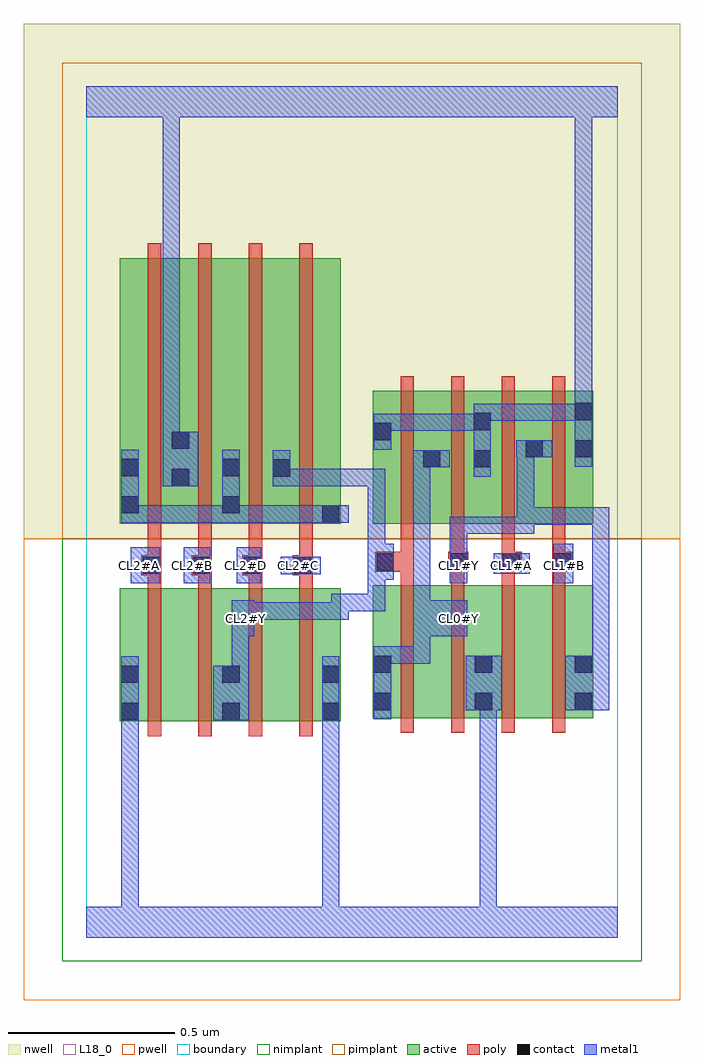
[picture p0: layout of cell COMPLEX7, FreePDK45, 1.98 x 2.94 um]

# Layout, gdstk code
import gdstk
lib = gdstk.Library(unit=1e-6, precision=1e-09)
def R(c, l, rs):  # rectangles x0, y0, x1, y1
    for r in rs: c.add(gdstk.rectangle(r[:2], r[2:], *l))
def A(c, l, x, y, w, h, nx, ny, dx, dy):  # array of equal rectangles
    R(c, l, [(x+i*dx, y+j*dy, x+i*dx+w, y+j*dy+h) for i in range(nx) for j in range(ny)])
active = (1, 0)
pwell = (2, 0)
nwell = (3, 0)
nimplant = (4, 0)
pimplant = (5, 0)
poly = (9, 0)
contact = (10, 0)
metal1 = (11, 0)
L18_0 = (18, 0)
boundary = (235, 0)

complex7 = lib.new_cell('COMPLEX7')
A(complex7, active, 0.102, 1.244, 0.06, 0.8, 4, 1, 0.152, 0)
A(complex7, active, 0.102, 1.244, 0.212, 0.8, 3, 1, 0.152, 0)
R(complex7, active, [(0.102,0.65,0.282,1.05), (0.102,0.65,0.162,1.05), (0.282,0.65,0.466,1.05), (0.406,0.65,0.586,1.05), (0.406,0.65,0.466,0.822), (0.586,0.65,0.766,1.05), (0.706,0.65,0.766,1.05), (0.862,0.66,1.042,1.06), (1.042,0.66,1.226,1.06), (1.166,0.66,1.346,1.06), (1.346,0.66,1.526,1.06), (0.862,0.68,0.922,1.06), (1.166,0.68,1.226,0.852), (1.466,0.68,1.526,1.06), (0.558,1.244,0.766,2.044), (0.706,1.244,0.766,2.044), (0.862,1.244,1.07,1.644), (1.01,1.244,1.07,1.644), (1.01,1.244,1.222,1.644), (1.162,1.244,1.222,1.644), (1.162,1.244,1.378,1.644), (1.318,1.244,1.378,1.644), (1.318,1.244,1.526,1.644), (1.466,1.244,1.526,1.644), (0.862,1.452,0.922,1.644)])
R(complex7, pwell, [(-0.188,-0.188,1.788,1.2)])
R(complex7, nwell, [(-0.188,1.2,1.788,2.748)])
R(complex7, nimplant, [(-0.072,-0.072,1.672,1.2)])
R(complex7, pimplant, [(-0.072,1.2,1.672,2.632)])
A(complex7, poly, 0.186, 0.606, 0.04, 0.488, 4, 1, 0.152, 0)
A(complex7, poly, 0.946, 0.616, 0.04, 0.488, 4, 2, 0.152, 0.584)
A(complex7, poly, 0.186, 1.054, 0.04, 0.076, 4, 1, 0.152, 0)
A(complex7, poly, 0.946, 1.064, 0.04, 0.076, 4, 1, 0.152, 0)
A(complex7, poly, 0.166, 1.09, 0.06, 0.06, 4, 1, 0.152, 0)
A(complex7, poly, 0.186, 1.11, 0.04, 0.13, 4, 1, 0.152, 0)
A(complex7, poly, 0.946, 1.12, 0.04, 0.12, 4, 1, 0.152, 0)
A(complex7, poly, 0.186, 1.2, 0.04, 0.888, 4, 1, 0.152, 0)
R(complex7, poly, [(0.49,1.09,0.53,1.13), (0.49,1.09,0.53,1.13), (0.642,1.09,0.682,1.13), (0.642,1.09,0.682,1.13), (0.87,1.1,0.986,1.16), (1.09,1.1,1.15,1.16), (1.098,1.1,1.138,1.14), (1.098,1.1,1.138,1.14), (1.25,1.1,1.31,1.16), (1.402,1.1,1.462,1.16), (0.186,1.11,0.226,1.15), (0.186,1.11,0.226,1.15), (0.338,1.11,0.378,1.15), (0.338,1.11,0.378,1.15), (0.946,1.12,0.986,1.16), (0.946,1.12,0.986,1.16), (1.25,1.12,1.29,1.16), (1.25,1.12,1.29,1.16), (1.402,1.12,1.442,1.16), (1.402,1.12,1.442,1.16)])
A(complex7, contact, 0.17, 1.094, 0.052, 0.052, 4, 1, 0.152, 0)
R(complex7, contact, [(0.106,0.654,0.158,0.706), (0.41,0.654,0.462,0.706), (0.71,0.654,0.762,0.706), (0.866,0.684,0.918,0.736), (1.17,0.684,1.222,0.736), (1.47,0.684,1.522,0.736), (0.106,0.766,0.158,0.818), (0.41,0.766,0.462,0.818), (0.71,0.766,0.762,0.818), (0.866,0.796,0.918,0.848), (1.17,0.796,1.222,0.848), (1.47,0.796,1.522,0.848), (0.874,1.104,0.926,1.156), (1.094,1.104,1.146,1.156), (1.254,1.104,1.306,1.156), (1.406,1.104,1.458,1.156), (0.71,1.248,0.762,1.3), (0.106,1.276,0.158,1.328), (0.41,1.276,0.462,1.328), (0.258,1.358,0.31,1.41), (0.562,1.386,0.614,1.438), (0.106,1.388,0.158,1.44), (0.41,1.388,0.462,1.44), (1.014,1.414,1.066,1.466), (1.166,1.414,1.218,1.466), (1.322,1.444,1.374,1.496), (1.47,1.444,1.522,1.496), (0.258,1.47,0.31,1.522), (0.866,1.496,0.918,1.548), (1.166,1.526,1.218,1.578), (1.47,1.556,1.522,1.608)])
R(complex7, metal1, [(0,0,1.6,0.092), (0.106,0.04,0.158,0.092), (0.106,0.04,0.158,0.092), (0.106,0.04,0.158,0.092), (0.106,0.04,0.158,0.092), (0.106,0.04,0.158,0.092), (0.106,0.04,0.158,0.092), (0.106,0.04,0.158,0.092), (0.106,0.04,0.158,0.092), (0.106,0.04,0.158,0.092), (0.106,0.04,0.158,0.092), (0.106,0.04,0.158,0.092), (0.106,0.04,0.158,0.092), (0.106,0.04,0.158,0.678), (0.71,0.04,0.762,0.092), (0.71,0.04,0.762,0.092), (0.71,0.04,0.762,0.092), (0.71,0.04,0.762,0.092), (0.71,0.04,0.762,0.092), (0.71,0.04,0.762,0.092), (0.71,0.04,0.762,0.092), (0.71,0.04,0.762,0.092), (0.71,0.04,0.762,0.092), (0.71,0.04,0.762,0.092), (0.71,0.04,0.762,0.092), (0.71,0.04,0.762,0.092), (0.71,0.04,0.762,0.678), (1.184,0.04,1.236,0.092), (1.184,0.04,1.236,0.092), (1.184,0.04,1.236,0.092), (1.184,0.04,1.236,0.092), (1.184,0.04,1.236,0.092), (1.184,0.04,1.236,0.092), (1.184,0.04,1.236,0.736), (0.106,0.626,0.158,0.846), (0.71,0.626,0.762,0.846), (0.382,0.654,0.49,0.818), (0.866,0.656,0.918,0.876), (1.142,0.684,1.25,0.848), (1.184,0.684,1.236,0.736), (1.184,0.684,1.236,0.736), (1.184,0.684,1.236,0.736), (1.184,0.684,1.236,0.736), (1.184,0.684,1.236,0.736), (1.184,0.684,1.236,0.736), (1.442,0.684,1.574,0.848), (0.438,0.766,0.49,0.958), (1.522,0.796,1.574,0.848), (1.522,0.796,1.574,0.848), (1.522,0.796,1.574,1.294), (0.866,0.824,0.918,0.876), (0.866,0.824,0.918,0.876), (0.866,0.824,1.036,0.876), (0.984,0.824,1.036,0.876), (0.984,0.824,1.036,0.958), (0.438,0.906,0.506,1.014), (0.984,0.906,1.146,1.014), (0.454,0.956,0.506,1.008), (0.454,0.956,0.506,1.008), (0.454,0.956,0.624,1.008), (0.572,0.956,0.624,1.008), (0.572,0.956,0.79,1.008), (0.738,0.956,0.79,1.034), (0.984,0.962,1.036,1.014), (0.984,0.962,1.036,1.014), (0.984,0.962,1.036,1.466), (0.738,0.982,0.79,1.034), (0.738,0.982,0.79,1.034), (0.738,0.982,0.9,1.034), (0.848,0.982,0.9,1.128), (0.134,1.066,0.222,1.174), (0.294,1.066,0.374,1.174), (0.454,1.066,0.526,1.174), (1.094,1.066,1.146,1.184), (1.406,1.066,1.466,1.184), (0.848,1.076,0.9,1.128), (0.848,1.076,0.9,1.128), (0.848,1.076,0.926,1.128), (0.848,1.076,0.9,1.41), (0.874,1.076,0.926,1.184), (0.586,1.092,0.706,1.146), (1.226,1.094,1.334,1.156), (1.094,1.132,1.146,1.184), (1.094,1.132,1.146,1.266), (1.094,1.214,1.348,1.266), (1.296,1.214,1.348,1.294), (1.296,1.242,1.348,1.294), (1.296,1.242,1.348,1.294), (1.296,1.242,1.574,1.294), (1.296,1.242,1.348,1.496), (1.522,1.242,1.574,1.294), (1.522,1.242,1.574,1.294), (1.522,1.242,1.574,1.294), (0.106,1.248,0.158,1.3), (0.106,1.248,0.158,1.3), (0.106,1.248,0.158,1.468), (0.106,1.248,0.324,1.3), (0.272,1.248,0.324,1.3), (0.272,1.248,0.324,1.3), (0.272,1.248,0.324,1.3), (0.272,1.248,0.462,1.3), (0.41,1.248,0.462,1.468), (0.41,1.248,0.484,1.3), (0.432,1.248,0.484,1.3), (0.432,1.248,0.624,1.3), (0.572,1.248,0.624,1.3), (0.572,1.248,0.624,1.3), (0.572,1.248,0.624,1.3), (0.572,1.248,0.734,1.3), (0.682,1.248,0.79,1.3), (0.23,1.358,0.338,1.522), (0.562,1.358,0.614,1.466), (0.562,1.358,0.734,1.41), (0.682,1.358,0.734,1.41), (0.682,1.358,0.734,1.41), (0.682,1.358,0.734,1.41), (0.682,1.358,0.9,1.41), (0.848,1.358,0.9,1.41), (0.848,1.358,0.9,1.41), (0.848,1.358,0.9,1.41), (1.166,1.386,1.218,1.606), (0.984,1.414,1.094,1.466), (1.47,1.416,1.522,1.636), (1.294,1.444,1.402,1.496), (0.866,1.468,0.918,1.576), (0.23,1.47,0.282,1.522), (0.23,1.47,0.282,1.522), (0.23,1.47,0.282,2.52), (0.866,1.524,0.918,1.576), (0.866,1.524,0.918,1.576), (0.866,1.524,1.036,1.576), (0.984,1.524,1.036,1.576), (0.984,1.524,1.036,1.576), (0.984,1.524,1.036,1.576), (0.984,1.524,1.218,1.576), (1.166,1.554,1.348,1.606), (1.296,1.554,1.348,1.606), (1.296,1.554,1.348,1.606), (1.296,1.554,1.348,1.606), (1.296,1.554,1.522,1.606), (1.47,1.554,1.522,1.606), (1.47,1.554,1.522,1.606), (1.47,1.584,1.522,2.52), (0,2.468,1.6,2.56), (0.23,2.468,0.282,2.52), (0.23,2.468,0.282,2.52), (0.23,2.468,0.282,2.52), (0.23,2.468,0.282,2.52), (0.23,2.468,0.282,2.52), (0.23,2.468,0.282,2.52), (1.47,2.468,1.522,2.52), (1.47,2.468,1.522,2.52), (1.47,2.468,1.522,2.52), (1.47,2.468,1.522,2.52), (1.47,2.468,1.522,2.52), (1.47,2.468,1.522,2.52), (1.47,2.468,1.522,2.52), (1.47,2.468,1.522,2.52), (1.47,2.468,1.522,2.52), (1.47,2.468,1.522,2.52), (1.47,2.468,1.522,2.52), (1.47,2.468,1.522,2.52), (1.47,2.468,1.522,2.52), (1.47,2.468,1.522,2.52), (1.47,2.468,1.522,2.52), (1.47,2.468,1.522,2.52)])
A(complex7, L18_0, 0.134, 1.094, 0.052, 0.052, 4, 1, 0.16, 0)
A(complex7, L18_0, 1.094, 1.094, 0.052, 0.052, 3, 1, 0.16, 0)
R(complex7, L18_0, [(0,0,1.6,0.092), (0.106,0.04,0.158,0.092), (0.106,0.04,0.158,0.092), (0.106,0.04,0.158,0.092), (0.106,0.04,0.158,0.092), (0.106,0.04,0.158,0.092), (0.106,0.04,0.158,0.092), (0.106,0.04,0.158,0.092), (0.106,0.04,0.158,0.092), (0.106,0.04,0.158,0.092), (0.106,0.04,0.158,0.092), (0.106,0.04,0.158,0.092), (0.106,0.04,0.158,0.092), (0.106,0.04,0.158,0.678), (0.71,0.04,0.762,0.092), (0.71,0.04,0.762,0.092), (0.71,0.04,0.762,0.092), (0.71,0.04,0.762,0.092), (0.71,0.04,0.762,0.092), (0.71,0.04,0.762,0.092), (0.71,0.04,0.762,0.092), (0.71,0.04,0.762,0.092), (0.71,0.04,0.762,0.092), (0.71,0.04,0.762,0.092), (0.71,0.04,0.762,0.092), (0.71,0.04,0.762,0.092), (0.71,0.04,0.762,0.678), (1.184,0.04,1.236,0.092), (1.184,0.04,1.236,0.092), (1.184,0.04,1.236,0.092), (1.184,0.04,1.236,0.092), (1.184,0.04,1.236,0.092), (1.184,0.04,1.236,0.092), (1.184,0.04,1.236,0.736), (0.106,0.626,0.158,0.846), (0.71,0.626,0.762,0.846), (0.382,0.654,0.49,0.818), (0.866,0.656,0.918,0.876), (1.142,0.684,1.25,0.848), (1.184,0.684,1.236,0.736), (1.184,0.684,1.236,0.736), (1.184,0.684,1.236,0.736), (1.184,0.684,1.236,0.736), (1.184,0.684,1.236,0.736), (1.184,0.684,1.236,0.736), (1.442,0.684,1.574,0.848), (0.438,0.766,0.49,0.958), (1.522,0.796,1.574,0.848), (1.522,0.796,1.574,0.848), (1.522,0.796,1.574,1.294), (0.866,0.824,0.918,0.876), (0.866,0.824,0.918,0.876), (0.866,0.824,1.036,0.876), (0.984,0.824,1.036,0.876), (0.984,0.824,1.036,0.958), (0.438,0.906,0.506,1.014), (0.984,0.906,1.146,1.014), (0.454,0.934,0.506,0.986), (1.094,0.934,1.146,0.986), (0.454,0.956,0.506,1.008), (0.454,0.956,0.506,1.008), (0.454,0.956,0.624,1.008), (0.572,0.956,0.624,1.008), (0.572,0.956,0.79,1.008), (0.738,0.956,0.79,1.034), (0.984,0.962,1.036,1.014), (0.984,0.962,1.036,1.014), (0.984,0.962,1.036,1.466), (0.738,0.982,0.79,1.034), (0.738,0.982,0.79,1.034), (0.738,0.982,0.9,1.034), (0.848,0.982,0.9,1.128), (0.134,1.066,0.222,1.174), (0.294,1.066,0.374,1.174), (0.454,1.066,0.526,1.174), (1.094,1.066,1.146,1.184), (1.406,1.066,1.466,1.184), (0.848,1.076,0.9,1.128), (0.848,1.076,0.9,1.128), (0.848,1.076,0.9,1.41), (0.848,1.076,0.926,1.128), (0.874,1.076,0.926,1.184), (0.586,1.092,0.706,1.146), (1.226,1.094,1.334,1.156), (1.094,1.132,1.146,1.184), (1.094,1.132,1.146,1.266), (1.094,1.214,1.348,1.266), (1.296,1.214,1.348,1.294), (1.296,1.242,1.348,1.294), (1.296,1.242,1.348,1.294), (1.296,1.242,1.348,1.496), (1.296,1.242,1.574,1.294), (1.522,1.242,1.574,1.294), (1.522,1.242,1.574,1.294), (1.522,1.242,1.574,1.294), (0.23,1.358,0.338,1.522), (0.562,1.358,0.614,1.466), (0.562,1.358,0.734,1.41), (0.682,1.358,0.734,1.41), (0.682,1.358,0.734,1.41), (0.682,1.358,0.734,1.41), (0.682,1.358,0.9,1.41), (0.848,1.358,0.9,1.41), (0.848,1.358,0.9,1.41), (0.848,1.358,0.9,1.41), (1.166,1.386,1.218,1.606), (0.984,1.414,1.094,1.466), (1.47,1.416,1.522,1.636), (1.294,1.444,1.402,1.496), (0.866,1.468,0.918,1.576), (0.23,1.47,0.282,1.522), (0.23,1.47,0.282,1.522), (0.23,1.47,0.282,2.52), (0.866,1.524,0.918,1.576), (0.866,1.524,0.918,1.576), (0.866,1.524,1.036,1.576), (0.984,1.524,1.036,1.576), (0.984,1.524,1.036,1.576), (0.984,1.524,1.036,1.576), (0.984,1.524,1.218,1.576), (1.166,1.554,1.348,1.606), (1.296,1.554,1.348,1.606), (1.296,1.554,1.348,1.606), (1.296,1.554,1.348,1.606), (1.296,1.554,1.522,1.606), (1.47,1.554,1.522,1.606), (1.47,1.554,1.522,1.606), (1.47,1.584,1.522,2.52), (0,2.468,1.6,2.56), (0.23,2.468,0.282,2.52), (0.23,2.468,0.282,2.52), (0.23,2.468,0.282,2.52), (0.23,2.468,0.282,2.52), (0.23,2.468,0.282,2.52), (0.23,2.468,0.282,2.52), (1.47,2.468,1.522,2.52), (1.47,2.468,1.522,2.52), (1.47,2.468,1.522,2.52), (1.47,2.468,1.522,2.52), (1.47,2.468,1.522,2.52), (1.47,2.468,1.522,2.52), (1.47,2.468,1.522,2.52), (1.47,2.468,1.522,2.52), (1.47,2.468,1.522,2.52), (1.47,2.468,1.522,2.52), (1.47,2.468,1.522,2.52), (1.47,2.468,1.522,2.52), (1.47,2.468,1.522,2.52), (1.47,2.468,1.522,2.52), (1.47,2.468,1.522,2.52), (1.47,2.468,1.522,2.52)])
R(complex7, boundary, [(0,0,1.6,2.56)])
complex7.add(gdstk.Label('CL0#Y', (1.12,0.96), layer=11, texttype=0))
complex7.add(gdstk.Label('CL1#A', (1.28,1.12), layer=11, texttype=0))
complex7.add(gdstk.Label('CL1#B', (1.44,1.12), layer=11, texttype=0))
complex7.add(gdstk.Label('CL1#Y', (1.12,1.12), layer=11, texttype=0))
complex7.add(gdstk.Label('CL2#A', (0.16,1.12), layer=11, texttype=0))
complex7.add(gdstk.Label('CL2#B', (0.32,1.12), layer=11, texttype=0))
complex7.add(gdstk.Label('CL2#C', (0.64,1.12), layer=11, texttype=0))
complex7.add(gdstk.Label('CL2#D', (0.48,1.12), layer=11, texttype=0))
complex7.add(gdstk.Label('CL2#Y', (0.48,0.96), layer=11, texttype=0))

lib.write_gds('COMPLEX7.gds')
